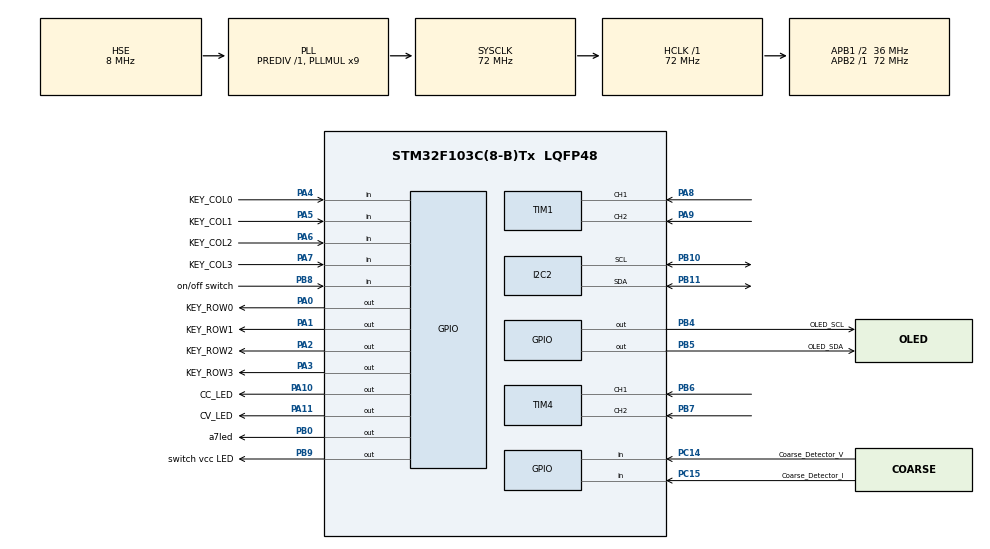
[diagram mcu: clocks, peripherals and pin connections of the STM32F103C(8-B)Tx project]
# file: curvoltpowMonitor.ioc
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I2C2.I2C_Mode=I2C_Standard
Mcu.Family=STM32F1
Mcu.Name=STM32F103C(8-B)Tx
Mcu.Package=LQFP48
NVIC.PriorityGroup=NVIC_PRIORITYGROUP_4
PA0-WKUP.GPIO_Label=KEY_ROW0
PA0-WKUP.GPIO_ModeDefaultOutputPP=GPIO_MODE_OUTPUT_PP
PA0-WKUP.GPIO_PuPd=GPIO_NOPULL
PA0-WKUP.GPIO_Speed=GPIO_SPEED_FREQ_HIGH
PA0-WKUP.PinState=GPIO_PIN_SET
PA0-WKUP.Signal=GPIO_Output
PA1.GPIO_Label=KEY_ROW1
PA1.GPIO_ModeDefaultOutputPP=GPIO_MODE_OUTPUT_PP
PA1.GPIO_PuPd=GPIO_NOPULL
PA1.GPIO_Speed=GPIO_SPEED_FREQ_HIGH
PA1.PinState=GPIO_PIN_SET
PA1.Signal=GPIO_Output
PA10.GPIO_Label=CC_LED
PA10.Signal=GPIO_Output
PA11.GPIO_Label=CV_LED
PA11.Signal=GPIO_Output
PA13.Mode=Serial_Wire
PA13.Signal=SYS_JTMS-SWDIO
PA14.Mode=Serial_Wire
PA14.Signal=SYS_JTCK-SWCLK
PA2.GPIO_Label=KEY_ROW2
PA2.GPIO_ModeDefaultOutputPP=GPIO_MODE_OUTPUT_PP
PA2.GPIO_PuPd=GPIO_NOPULL
PA2.GPIO_Speed=GPIO_SPEED_FREQ_HIGH
PA2.PinState=GPIO_PIN_SET
PA2.Signal=GPIO_Output
PA3.GPIO_Label=KEY_ROW3
PA3.GPIO_ModeDefaultOutputPP=GPIO_MODE_OUTPUT_PP
PA3.GPIO_PuPd=GPIO_NOPULL
PA3.GPIO_Speed=GPIO_SPEED_FREQ_HIGH
PA3.PinState=GPIO_PIN_SET
PA3.Signal=GPIO_Output
PA4.GPIO_Label=KEY_COL0
PA4.GPIO_Mode=GPIO_MODE_INPUT
PA4.GPIO_PuPd=GPIO_PULLUP
PA4.Signal=GPIO_Input
PA5.GPIO_Label=KEY_COL1
PA5.GPIO_Mode=GPIO_MODE_INPUT
PA5.GPIO_PuPd=GPIO_PULLUP
PA5.Signal=GPIO_Input
PA6.GPIO_Label=KEY_COL2
PA6.GPIO_Mode=GPIO_MODE_INPUT
PA6.GPIO_PuPd=GPIO_PULLUP
PA6.Signal=GPIO_Input
PA7.GPIO_Label=KEY_COL3
PA7.GPIO_Mode=GPIO_MODE_INPUT
PA7.GPIO_PuPd=GPIO_PULLUP
PA7.Signal=GPIO_Input
PA8.Signal=S_TIM1_CH1
PA9.Signal=S_TIM1_CH2
PB0.GPIO_Label=a7led
PB0.Signal=GPIO_Output
PB10.Mode=I2C
PB10.Signal=I2C2_SCL
PB11.Mode=I2C
PB11.Signal=I2C2_SDA
PB4.GPIO_Label=OLED_SCL
PB4.GPIO_ModeDefaultOutputPP=GPIO_MODE_OUTPUT_OD
PB4.GPIO_PuPd=GPIO_NOPULL
PB4.Signal=GPIO_Output
PB5.GPIO_Label=OLED_SDA
PB5.GPIO_ModeDefaultOutputPP=GPIO_MODE_OUTPUT_OD
PB5.GPIO_PuPd=GPIO_NOPULL
PB5.Signal=GPIO_Output
PB6.Signal=S_TIM4_CH1
PB7.Signal=S_TIM4_CH2
PB8.GPIO_Label=on/off switch
PB8.Signal=GPIO_Input
PB9.GPIO_Label=switch vcc LED
PB9.Signal=GPIO_Output
PC14-OSC32_IN.GPIO_Label=Coarse_Detector_V
PC14-OSC32_IN.Signal=GPIO_Input
PC15-OSC32_OUT.GPIO_Label=Coarse_Detector_I
PC15-OSC32_OUT.Signal=GPIO_Input
PD0-OSC_IN.Mode=HSE-External-Oscillator
PD0-OSC_IN.Signal=RCC_OSC_IN
PD1-OSC_OUT.Mode=HSE-External-Oscillator
PD1-OSC_OUT.Signal=RCC_OSC_OUT
ProjectManager.HeapSize=0x200
ProjectManager.StackSize=0x400
ProjectManager.TargetToolchain=CMake
RCC.AHBFreq_Value=72000000
RCC.APB1CLKDivider=RCC_HCLK_DIV2
RCC.APB1Freq_Value=36000000
RCC.APB1TimFreq_Value=72000000
RCC.APB2Freq_Value=72000000
RCC.APB2TimFreq_Value=72000000
RCC.HCLKFreq_Value=72000000
RCC.PLLMUL=RCC_PLL_MUL9
RCC.PLLSourceVirtual=RCC_PLLSOURCE_HSE
RCC.SYSCLKFreq_VALUE=72000000
RCC.SYSCLKSource=RCC_SYSCLKSOURCE_PLLCLK
RCC.USBFreq_Value=72000000
SH.S_TIM1_CH1.0=TIM1_CH1,Encoder_Interface
SH.S_TIM1_CH2.0=TIM1_CH2,Encoder_Interface
SH.S_TIM4_CH1.0=TIM4_CH1,Encoder_Interface
SH.S_TIM4_CH2.0=TIM4_CH2,Encoder_Interface
TIM1.EncoderMode=TIM_ENCODERMODE_TI12
TIM1.IC1Filter=15
TIM1.IC1Prescaler=TIM_ICPSC_DIV1
TIM1.IC2Filter=15
TIM1.IC2Prescaler=TIM_ICPSC_DIV1
TIM4.EncoderMode=TIM_ENCODERMODE_TI12
TIM4.IC1Filter=15
TIM4.IC2Filter=15
board=custom

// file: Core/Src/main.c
/* USER CODE BEGIN Header */
/**
 ******************************************************************************
 * @file           : main.c
 * @brief          : Main program body
 ******************************************************************************
 * @attention
 *
 * Copyright (c) 2025 STMicroelectronics.
 * All rights reserved.
 *
 * This software is licensed under terms that can be found in the LICENSE file
 * in the root directory of this software component.
 * If no LICENSE file comes with this software, it is provided AS-IS.
 *
 ******************************************************************************
 */
/* USER CODE END Header */
#include "main.h"
#include "gpio.h"
#include "i2c.h"
#include "tim.h"

/* USER CODE BEGIN Includes */
#include "Key4x4.h"
#include "dac60501.h"
#include "delay.h"
#include "ina260.h"
#include "oled.h"
#include "stdio.h"
#include "string.h"
#include <math.h>
#include <stdint.h>
#include <stdlib.h>

/* USER CODE END Includes */

/* USER CODE BEGIN PV */
uint32_t last_oled_update = 0;              // 上次 OLED 更新时间计数
const uint32_t OLED_UPDATE_INTERVAL = 1000; // OLED 更新间隔 1000ms = 1s
const uint32_t HEALTH_SHOWTIME = 300;       // 自检 显示间隔时间 300ms

// 输入状态机(用于处理按键输入设定电压和电流)
typedef enum {    // enum是定义枚举类型的关键字
  INPUT_IDLE = 0, // 空闲状态,从0开始
  INPUT_VOLTAGE,  // 输入电压中INPUT_VOLTAGE = 1
  INPUT_CURRENT   // 输入电流中INPUT_CURRENT = 2
} InputState_t;

InputState_t input_state = INPUT_IDLE; // 当前输入状态
char input_buffer[10] = {0};           // 输入缓冲区
uint8_t input_index = 0;               // 输入位置

float SetVoltage = 0.00f; // 设定电压 (V)
float SetCurrent = 1.00f; // 设定电流 (A)

// 旋转编码器相关变量
uint16_t V_encoder_last_cnt = 1000;        // 上次电压编码器计数值
uint16_t I_encoder_last_cnt = 1000;        // 上次电流编码器计数值
const float ENCODER_STEP_FINE = 0.01f;     // 编码器精调步进
const float ENCODER_STEP_COARSE_V = 0.50f; // 电压粗调步进
const float ENCODER_STEP_COARSE_I = 0.10f; // 电流粗调步进
uint8_t encoder_v_active = 0;              // 电压编码器激活标志
uint8_t encoder_i_active = 0;              // 电流编码器激活标志
uint32_t encoder_v_last_time = 0;          // 电压编码器上次活动时间
uint32_t encoder_i_last_time = 0;          // 电流编码器上次活动时间
const uint32_t ENCODER_TIMEOUT = 2000;     // 编码器提示超时时间(ms)

// 粗调/精调模式标志
uint8_t voltage_coarse_mode = 0; // 电压粗调模式标志
uint8_t current_coarse_mode = 0; // 电流粗调模式标志

// ON/OFF 状态标志
uint8_t output_enabled = 0; // 输出使能标志: 0=OFF, 1=ON

// DAC相关常量
// const float DAC_VREF = 2.5f;     // DAC内部参考电压 2.5V
// const float DAC_VOUT_MAX = 2.5f; // DAC最大输出电压 2.5V

/* USER CODE END PV */

void SystemClock_Config(void);
/* USER CODE BEGIN PFP */
static void Process_Key_Input(char key);
static void Clear_Input_Buffer(void);
static void Display_Input_Prompt(void);
static uint8_t Validate_And_Set_Value(void);
static void Process_Encoder(void);
static int Update_DAC_Outputs(float current_ma); // 更新DAC输出函数声明
static void Toggle_Output(void);                 // 切换输出状态函数声明
/* USER CODE END PFP */

/* USER CODE BEGIN 0 */

/**
 * @brief  清空输入缓冲区
 */
static void Clear_Input_Buffer(void) {
  // memset函数用于将一块内存空间全部设置为某个值，这里是将输入缓冲区清零
  // 函数用于将一段内存区域设置为指定的值，通常用于初始化数组或结构体。
  // 它按字节赋值，意味着*每个字节*都会被设置为指定的值。
  // 当使用 memset 对非字符类型的数组进行赋值时，需要特别注意赋值的内容。
  // 例如，对于 int 类型的数组，只有当赋值为 -1 或 0 时才能得到预期的结果。
  // 这是因为 -1 和 0 在二进制中每一位都相同，所以每个字节都会被正确地赋值。
  memset(input_buffer, 0, sizeof(input_buffer));
  input_index = 0;
}

/**
 * @brief  显示输入提示
 */
static void Display_Input_Prompt(void) {
  char prompt[32];
  uint32_t current_time = HAL_GetTick();

  // 优先显示键盘输入状态
  if (input_state == INPUT_VOLTAGE) {
    sprintf(prompt, "SetV:%s#          ", input_buffer);
    OLED_ShowString(0, 54, (uint8_t *)prompt, 8, 1);
  } else if (input_state == INPUT_CURRENT) {
    sprintf(prompt, "SetI:%s#          ", input_buffer);
    OLED_ShowString(0, 54, (uint8_t *)prompt, 8, 1);
  }
  // 显示编码器调节状态（如果有激活）
  else {
    // 检查电压编码器是否在超时时间内活动
    if (encoder_v_active &&
        (current_time - encoder_v_last_time) < ENCODER_TIMEOUT) {
      // 显示粗调/精调模式
      if (voltage_coarse_mode) {
        sprintf(prompt, "[COARSE] V:%.2fV  ", SetVoltage);
      } else {
        sprintf(prompt, "[FINE] V:%.2fV    ", SetVoltage);
      }
      OLED_ShowString(0, 54, (uint8_t *)prompt, 8, 1);
    }
    // 检查电流编码器是否在超时时间内活动
    else if (encoder_i_active &&
             (current_time - encoder_i_last_time) < ENCODER_TIMEOUT) {
      // 显示粗调/精调模式
      if (current_coarse_mode) {
        sprintf(prompt, "[COARSE] I:%.2fA  ", SetCurrent);
      } else {
        sprintf(prompt, "[FINE] I:%.2fA    ", SetCurrent);
      }
      OLED_ShowString(0, 54, (uint8_t *)prompt, 8, 1);
    }
    // 超时后清除提示
    else {
      encoder_v_active = 0;
      encoder_i_active = 0;
      // 不在输入状态时清空提示行
      if (input_state == INPUT_IDLE) {
        OLED_ShowString(0, 54, (uint8_t *)"                          ", 8, 1);
      }
    }
  }

  OLED_Refresh();
}

/**
 * @brief  处理旋转编码器输入（随时可调）
 */
static void Process_Encoder(void) {
  uint32_t current_time = HAL_GetTick();

  // ========== 检测电压编码器按钮状态（粗调/精调切换）==========
  // 低电平 = 按下 = 粗调模式
  if (HAL_GPIO_ReadPin(Coarse_Detector_V_GPIO_Port, Coarse_Detector_V_Pin) ==
      GPIO_PIN_RESET) {
    voltage_coarse_mode = 1;
  } else {
    voltage_coarse_mode = 0;
  }

  // ========== 检测电流编码器按钮状态（粗调/精调切换）==========
  // 低电平 = 按下 = 粗调模式
  if (HAL_GPIO_ReadPin(Coarse_Detector_I_GPIO_Port, Coarse_Detector_I_Pin) ==
      GPIO_PIN_RESET) {
    current_coarse_mode = 1;
  } else {
    current_coarse_mode = 0;
  }

  // ========== 处理电压编码器 (TIM1) ==========
  uint16_t V_encoder_cnt = __HAL_TIM_GET_COUNTER(&htim1);
  int16_t V_cnt_diff =
      ((int16_t)V_encoder_cnt - (int16_t)V_encoder_last_cnt) / 2;

  // 限制单次调整幅度,防止异常跳变
  if (abs(V_cnt_diff) > 0 && abs(V_cnt_diff) <= 100) {
    // 根据粗调/精调模式选择步进值
    float v_step =
        voltage_coarse_mode ? ENCODER_STEP_COARSE_V : ENCODER_STEP_FINE;

    // 计算新电压值
    float new_voltage = SetVoltage + V_cnt_diff * v_step;

    // 限制范围 0.00 - MAX_VOLTAGE
    if (new_voltage < 0.0f) {
      SetVoltage = 0.0f;
    } else if (new_voltage > MAX_VOLTAGE) {
      SetVoltage = MAX_VOLTAGE;
    } else {
      SetVoltage = new_voltage;
    }

    // 标记电压编码器活动
    encoder_v_active = 1;
    encoder_v_last_time = current_time;
    encoder_i_active = 0; // 清除电流编码器提示

    // 更新上次计数值
    V_encoder_last_cnt = V_encoder_cnt;
  }

  // ========== 处理电流编码器 (TIM4) ==========
  uint16_t I_encoder_cnt = __HAL_TIM_GET_COUNTER(&htim4);
  int16_t I_cnt_diff =
      ((int16_t)I_encoder_cnt - (int16_t)I_encoder_last_cnt) / 2;

  // 限制单次调整幅度,防止异常跳变
  if (abs(I_cnt_diff) > 0 && abs(I_cnt_diff) <= 100) {
    // 根据粗调/精调模式选择步进值
    float i_step =
        current_coarse_mode ? ENCODER_STEP_COARSE_I : ENCODER_STEP_FINE;

    // 计算新电流值
    float new_current = SetCurrent + I_cnt_diff * i_step;

    // 限制范围 0.00 - MAX_CURRENT
    if (new_current < 0.0f) {
      SetCurrent = 0.0f;
    } else if (new_current > MAX_CURRENT) {
      SetCurrent = MAX_CURRENT;
    } else {
      SetCurrent = new_current;
    }

    // 标记电流编码器活动
    encoder_i_active = 1;
    encoder_i_last_time = current_time;
    encoder_v_active = 0; // 清除电压编码器提示

    // 更新上次计数值
    I_encoder_last_cnt = I_encoder_cnt;
  }
}

/**
 * @brief  验证并设置数值 简要说明
 * @retval 1: 成功, 0: 失败 返回说明
 */
static uint8_t Validate_And_Set_Value(void) {
  // atof函数用于将字符串转换为浮点数 ascii to floating point numbers
  // 这里将输入缓冲区的字符串转换为浮点数来和范围进行比较
  float value = atof(input_buffer);
  char msg[32];

  if (input_state == INPUT_VOLTAGE) {
    // 验证范围 0.00 - 16.00 V
    if (value < 0.0f || value > MAX_VOLTAGE) {
      sprintf(msg, "  Vset ERR:0-16V     ");
      OLED_ShowString(0, 54, (uint8_t *)msg, 8, 1);
      OLED_Refresh();
      HAL_Delay(2000);
      return 0;
    }
    // 若验证通过,设置变量
    SetVoltage = value;
    sprintf(msg, "  SetV:%.2fV OK     ", SetVoltage);

  } else if (input_state == INPUT_CURRENT) {
    // 验证范围 0.00 - 5.00 A
    if (value < 0.0f || value > MAX_CURRENT) {
      sprintf(msg, "  Iset ERR:0-1A     ");
      OLED_ShowString(0, 54, (uint8_t *)msg, 8, 1);
      OLED_Refresh();
      HAL_Delay(2000);
      return 0;
    }
    // 若验证通过,设置变量
    SetCurrent = value;
    sprintf(msg, "  SetI:%.2fA OK     ", SetCurrent);
  }
  // 展示成功信息和设定值
  OLED_ShowString(0, 54, (uint8_t *)msg, 8, 1);
  OLED_Refresh();
  HAL_Delay(1500);
  // 1: 成功
  return 1;
}

/**
 * @brief  切换输出状态 (ON/OFF)
 * @note   切换 output_enabled 标志，同时控制 LED 指示灯
 */
static void Toggle_Output(void) {
  // 切换输出状态
  output_enabled = !output_enabled;
  HAL_GPIO_TogglePin(switch_vcc_LED_GPIO_Port, switch_vcc_LED_Pin);

  // OFF 状态下关闭所有指示灯
  if (!output_enabled) {
    HAL_GPIO_WritePin(GPIOA, CV_LED_Pin, GPIO_PIN_RESET);
    HAL_GPIO_WritePin(GPIOA, CC_LED_Pin, GPIO_PIN_RESET);
  }
}

/**
 * @brief  处理按键输入
 * @param  key: 按键字符
 */
static void Process_Key_Input(char key) {
  switch (input_state) {
    // 如果在空闲状态按下时候:
  case INPUT_IDLE:
    if (key == 'A') {
      // 开始输入电压
      input_state = INPUT_VOLTAGE;
      Clear_Input_Buffer();
      encoder_v_active = 0; // 清除编码器状态
      encoder_i_active = 0;
      Display_Input_Prompt();
    } else if (key == 'B') {
      // 开始输入电流
      input_state = INPUT_CURRENT;
      Clear_Input_Buffer();
      encoder_v_active = 0; // 清除编码器状态
      encoder_i_active = 0;
      Display_Input_Prompt();
    } else if (key == 'C') {
      // C键控制ON/OFF切换(之前是清空,现在交给空闲状态下的*键：长按清空)
      Toggle_Output();
    } else if (key == '*') {
      // 空闲状态下的*键：长按清空，短按无操作
      if (Key_IsLongPress()) {
        SetVoltage = 0.0f;
        SetCurrent = 0.0f;
        OLED_ShowString(0, 54, (uint8_t *)"  --- Clear OK ---       ", 8, 1);
        OLED_Refresh();
        HAL_Delay(1000);
      }
    }
    break;

    // 如果在输入电压或电流状态按下时候:
  case INPUT_VOLTAGE:
  case INPUT_CURRENT:
    if (key == 'E') {
      if (input_index > 0) {
        if (Validate_And_Set_Value()) {
          // 验证成功,返回空闲状态
          input_state = INPUT_IDLE;
          // 清空输入缓冲区
          Clear_Input_Buffer();
        } else {
          // 验证失败,重新输入
          // 清空输入缓冲区
          Clear_Input_Buffer();
          // 显示输入提示
          Display_Input_Prompt();
        }
      }
    } else if (key == '*') {
      // 输入状态下的*键
      if (Key_IsLongPress()) {
        // 长按：全清空 (类似原C键功能)
        input_state = INPUT_IDLE;
        Clear_Input_Buffer();
        SetVoltage = 0.0f;
        SetCurrent = 0.0f;
        OLED_ShowString(0, 54, (uint8_t *)"  --- Clear OK ---       ", 8, 1);
        OLED_Refresh();
        HAL_Delay(1000);
      } else {
        // 短按：退格/取消 (原有功能)
        input_state = INPUT_IDLE;
        Clear_Input_Buffer();
        OLED_ShowString(0, 54, (uint8_t *)"  --- Cancel ---       ", 8, 1);
        OLED_Refresh();
        HAL_Delay(1000);
      }

    } else if ((key >= '0' && key <= '9') || key == '.') {
      if (input_index < 8) {
        if (key == '.') {
          // 只允许一个小数点,for循环遍历当前输入缓冲区
          for (uint8_t i = 0; i < input_index; i++) {
            if (input_buffer[i] == '.') {
              return; // 已有小数点,忽略
            }
          }
        }
        // 添加到输入缓冲区
        input_buffer[input_index++] = key;
        // (回到)显示输入提示
        Display_Input_Prompt();
      }
    }
    break;
  }
}

/**
 * @brief  更新所有DAC输出(电压和电流)
 * @retval 0: 全部成功, -1: 电压DAC失败, -2: 电流DAC失败, -3: 全部失败
 */
static int Update_DAC_Outputs(float current_ma) {
  int ret_v = DAC60501_SetVoltageOutput(SetVoltage, current_ma);
  int ret_i = DAC60501_SetCurrentOutput(SetCurrent);

  // 返回错误码
  if (ret_v != 0 && ret_i != 0)
    return -3; // 全部失败
  if (ret_v != 0)
    return -1; // 电压DAC失败
  if (ret_i != 0)
    return -2; // 电流DAC失败
  return 0;    // 全部成功
}

/* USER CODE END 0 */

int main(void) {

  /* MCU Configuration--------------------------------------------------------*/

  /* Reset of all peripherals, Initializes the Flash interface and the Systick.
   */
  HAL_Init();

  /* Configure the system clock */
  SystemClock_Config();

  /* Initialize all configured peripherals */
  MX_GPIO_Init();
  MX_I2C2_Init();
  MX_TIM1_Init();
  MX_TIM4_Init();
  /* USER CODE BEGIN 2 */

  // u8 t = ' ';
  delay_init();
  HAL_Delay(30); // for OLED screen initial
  OLED_Init();
  OLED_ColorTurn(0);   // 0正常显示，1 反色显示
  OLED_DisplayTurn(1); // 0正常显示 1 屏幕翻转显示
  // OLED部分代码参考取自中景园电子ZJY096I0400WG11技术资料(SSD1315)
  KEY_4x4_Init();                                 // 初始化4x4矩阵键盘
  HAL_TIM_Encoder_Start(&htim1, TIM_CHANNEL_ALL); // 启动电压编码器
  htim1.Instance->CNT = 1000;
  V_encoder_last_cnt = 1000;

  HAL_TIM_Encoder_Start(&htim4, TIM_CHANNEL_ALL); // 启动电流编码器
  htim4.Instance->CNT = 1000;
  I_encoder_last_cnt = 1000;

  HAL_Delay(20);
  uint8_t codehyz[10] = "23211319";
  uint8_t codelyk[10] = "23211326";
  uint8_t codecyh[10] = "23211288";
  OLED_Clear();
  OLED_Refresh();
  OLED_CN(28, 6, 6, 12, 1, 1); // 主标题
  OLED_CN(0, 20, 4, 12, 1, 2);
  OLED_ShowString(50, 20, codehyz, 12, 1);
  OLED_CN(0, 36, 4, 12, 1, 3);
  OLED_ShowString(50, 36, codelyk, 12, 1);
  OLED_CN(0, 52, 4, 12, 1, 4);
  OLED_ShowString(50, 52, codecyh, 12, 1);
  OLED_Refresh();
  HAL_Delay(3000);
  OLED_Clear();

  // 初始化 INA260 引用和参考: https://github.com/xupenghu/ina260
  int ret = ina260_init_default(INA260_SLAVE_ADDRESS);

  OLED_Clear();
  OLED_CN(28, 6, 6, 12, 1, 1); // 主标题
  if (ret == INA_STATUS_OK) {
    // OLED_ShowString(0, 24, (uint8_t *)"INA260 OK", 16, 1);

    // 配置工作模式
    // operating_type: iotPower (default) - 同时测电流和电压
    // operating_mode: iomContinuous (default) - 连续测量
    // current_ctime: ictConvert1p1ms (default) - 电流转换时间 1.1ms
    // voltage_ctime: ivtConvert1p1ms (default) - 电压转换时间 1.1ms
    // sample_size: issSample512 - 512次采样取平均值
    // 总采样时间 = 采样次数 * 转换时间
    ina260_set_config(iotPower, iomContinuous, ictConvert1p1ms, ictConvert1p1ms,
                      issSample512);

  } else {
    OLED_ShowString(0, 24, (uint8_t *)"INA260 ERR", 16, 1);
  }
  OLED_Refresh();
  HAL_Delay(500);

  // ============ DAC60501 开机自检 ============
  OLED_Clear();
  OLED_CN(28, 6, 6, 12, 1, 1); // 显示标题
  OLED_ShowString(0, 20, (uint8_t *)"DAC60501 Diagnostic", 8, 1);
  OLED_Refresh();
  HAL_Delay(1000);

  // PB9 置高
  // HAL_GPIO_WritePin(GPIOB, GPIO_PIN_9, GPIO_PIN_SET);
  // HAL_GPIO_WritePin(GPIOA, CC_LED_Pin, GPIO_PIN_SET); // CC LED ON
  // HAL_GPIO_WritePin(GPIOA, CV_LED_Pin, GPIO_PIN_SET); // CV LED ON
  char dac_msg[32];
  uint8_t diag_line = 30; // 诊断信息起始行

  // ========== 步骤1: 初始化所有DAC ==========
  OLED_ShowString(0, diag_line, (uint8_t *)"1.Init DACs...       ", 8, 1);
  OLED_Refresh();
  HAL_Delay(300);

  DAC60501_Init_All(); // 初始化两个DAC
  HAL_Delay(1000);

  OLED_ShowString(0, diag_line, (uint8_t *)"1.Init DACs...OK       ", 8, 1);
  OLED_Refresh();
  HAL_Delay(500);

  // ========== 步骤2: 读取设备ID ==========
  // ========== 检查电压控制DAC (0x48) ==========
  diag_line += 10;
  OLED_ShowString(0, diag_line, (uint8_t *)"2.Voltage DAC...       ", 8, 1);
  OLED_Refresh();
  HAL_Delay(300);

  uint16_t dac_v_id = DAC60501_ReadDeviceId_Addr(DAC_VOLTAGE_ADDR);
  if (dac_v_id != 0xFFFF && dac_v_id != 0x0000) {
    sprintf(dac_msg, "2.V-DAC:0x%04X OK       ", dac_v_id);
  } else {
    sprintf(dac_msg, "2.V-DAC:0x%04X ERR       ", dac_v_id);
  }
  OLED_ShowString(0, diag_line, (uint8_t *)dac_msg, 8, 1);
  OLED_Refresh();
  HAL_Delay(500);

  // ========== 检查电流控制DAC (0x49) ==========
  diag_line += 10;
  OLED_ShowString(0, diag_line, (uint8_t *)"3.Current DAC...       ", 8, 1);
  OLED_Refresh();
  HAL_Delay(300);

  uint16_t dac_i_id = DAC60501_ReadDeviceId_Addr(DAC_CURRENT_ADDR);
  if (dac_i_id != 0xFFFF && dac_i_id != 0x0000) {
    sprintf(dac_msg, "3.I-DAC:0x%04X OK       ", dac_i_id);
  } else {
    sprintf(dac_msg, "3.I-DAC:0x%04X ERR       ", dac_i_id);
  }
  OLED_ShowString(0, diag_line, (uint8_t *)dac_msg, 8, 1);
  OLED_Refresh();
  HAL_Delay(1000);

  // ========== 下一页 ==========
  OLED_Clear();
  diag_line = 0;
  HAL_Delay(HEALTH_SHOWTIME);
  // ========== 步骤3: 读取STATUS寄存器 ==========
  diag_line += 10;
  OLED_ShowString(0, diag_line, (uint8_t *)"3.Read STATUS...       ", 8, 1);
  OLED_Refresh();
  HAL_Delay(300);

  // 修改: 读取两个DAC的STATUS
  uint16_t status_v = DAC60501_ReadStatus_Addr(DAC_VOLTAGE_ADDR);
  sprintf(dac_msg, "3.V-STA:0x%04X       ", status_v);
  OLED_ShowString(0, diag_line, (uint8_t *)dac_msg, 8, 1);
  OLED_Refresh();
  HAL_Delay(500);
  // ========== 下一页 ==========
  OLED_Clear();
  diag_line = 0;
  HAL_Delay(HEALTH_SHOWTIME);
  // ========== 步骤4: 设置GAIN寄存器 ==========
  diag_line += 10;
  OLED_ShowString(0, diag_line, (uint8_t *)"4.Set GAIN...       ", 8, 1);
  OLED_Refresh();
  HAL_Delay(300);

  // 修改: 设置两个DAC的GAIN
  int gain_ret_v = DAC60501_SetGain_Addr(DAC_VOLTAGE_ADDR, 1, 1);
  int gain_ret_i = DAC60501_SetGain_Addr(DAC_CURRENT_ADDR, 1, 1);

  if (gain_ret_v == 0 && gain_ret_i == 0) {
    OLED_ShowString(0, diag_line, (uint8_t *)"4.GAIN Set OK       ", 8, 1);
  } else {
    sprintf(dac_msg, "4.GAIN Err V:%d I:%d", gain_ret_v, gain_ret_i);
    OLED_ShowString(0, diag_line, (uint8_t *)dac_msg, 8, 1);
  }
  OLED_Refresh();
  HAL_Delay(HEALTH_SHOWTIME);

  // ========== 步骤5: 检查REF-ALARM ==========
  diag_line += 10;
  OLED_ShowString(0, diag_line, (uint8_t *)"5.Check REF...       ", 8, 1);
  OLED_Refresh();
  HAL_Delay(HEALTH_SHOWTIME);

  // 修改: 检查两个DAC的REF-ALARM
  int alarm_v = DAC60501_RefAlarm_Addr(DAC_VOLTAGE_ADDR);
  int alarm_i = DAC60501_RefAlarm_Addr(DAC_CURRENT_ADDR);

  if (alarm_v == 0 && alarm_i == 0) {
    OLED_ShowString(0, diag_line, (uint8_t *)"5.REF OK       ", 8, 1);
  } else {
    sprintf(dac_msg, "5.REF V:%d I:%d       ", alarm_v, alarm_i);
    OLED_ShowString(0, diag_line, (uint8_t *)dac_msg, 8, 1);
  }
  OLED_Refresh();
  HAL_Delay(HEALTH_SHOWTIME);
  // ========== 下一页 ==========
  OLED_Clear();
  diag_line = 0;
  HAL_Delay(HEALTH_SHOWTIME);
  // ========== 步骤6: 测试电压输出(增强版) ==========
  diag_line += 10;
  OLED_ShowString(0, diag_line, (uint8_t *)"6.Test Output...", 8, 1);
  OLED_Refresh();
  HAL_Delay(HEALTH_SHOWTIME);

  // 先读取CONFIG寄存器
  I2C_WriteByte_Addr(DAC_VOLTAGE_ADDR, CONFIG, 0x0000); // 复位V CONFIG寄存器
  I2C_WriteByte_Addr(DAC_CURRENT_ADDR, CONFIG, 0x0000); // 复位I CONFIG寄存器
  uint16_t V_config_reg = I2C_ReadByte_Addr(DAC_VOLTAGE_ADDR, CONFIG);
  uint16_t I_config_reg = I2C_ReadByte_Addr(DAC_CURRENT_ADDR, CONFIG);
  sprintf(dac_msg, "CFG:V-%04X,I-%04X", V_config_reg, I_config_reg);
  OLED_ShowString(0, diag_line + 10, (uint8_t *)dac_msg, 8, 1);
  OLED_Refresh();
  HAL_Delay(500);

  // 清屏,开始详细测试
  OLED_Clear();
  diag_line = 18;

  // // 测试序列: 0V -> 1.25V -> 2.5V
  // float test_voltages[] = {0.0f, 1.25f, 2.5f};
  // uint8_t test_passed = 1;

  // for (int i = 0; i < 3; i++) {
  //   // 显示当前测试电压
  //   sprintf(dac_msg, "Test %d: %.2fV", i + 1, test_voltages[i]);
  //   OLED_ShowString(0, diag_line, (uint8_t *)dac_msg, 8, 1);
  //   OLED_Refresh();
  //   HAL_Delay(300);

  //   // 计算DAC码值
  //   uint16_t dac_code = (uint16_t)((test_voltages[i] / DAC_VREF) * 4095.0f);
  //   uint16_t dac_data = dac_code << 4; // 左对齐到16-bit

  //   // 写入DAC_DATA寄存器
  //   I2C_WriteByte(DAC_DATA, dac_data);
  //   HAL_Delay(100); // 等待DAC稳定

  //   // 回读DAC_DATA寄存器验证
  //   uint16_t readback = I2C_ReadByte(DAC_DATA);
  //   sprintf(dac_msg, "W:0x%04X R:0x%04X", dac_data, readback);
  //   OLED_ShowString(0, diag_line + 10, (uint8_t *)dac_msg, 8, 1);
  //   OLED_Refresh();

  //   // 验证写入是否成功
  //   if (readback != dac_data) {
  //     test_passed = 0;
  //     sprintf(dac_msg, "Readback FAIL!");
  //     OLED_ShowString(0, diag_line + 20, (uint8_t *)dac_msg, 8, 1);
  //     OLED_Refresh();
  //     HAL_Delay(2000);
  //     break;
  //   }

  //   // 再次检查STATUS寄存器
  //   uint16_t status_now = DAC60501_ReadStatus();
  //   sprintf(dac_msg, "STATUS:0x%04X", status_now);
  //   OLED_ShowString(0, diag_line + 20, (uint8_t *)dac_msg, 8, 1);
  //   OLED_Refresh();

  //   // 检查REF-ALARM位
  //   if (status_now & STATUS_REF_ALARM) {
  //     test_passed = 0;
  //     OLED_ShowString(0, diag_line + 30, (uint8_t *)"REF ALARM!", 8, 1);
  //     OLED_Refresh();
  //     HAL_Delay(2000);
  //     break;
  //   }

  //   // 显示"请用万用表测量"提示
  //   OLED_ShowString(0, diag_line + 30, (uint8_t *)"Measure VOUT now!", 8, 1);
  //   OLED_Refresh();
  //   HAL_Delay(5000); // 保持5秒供测量

  //   // 清除测试信息,准备下一个
  //   if (i < 2) {
  //     OLED_Clear();
  //     diag_line = 18;
  //   }
  // }

  // 恢复0V输出 - 修改为两个DAC
  DAC60501_SetVoltageOutput(0.0f,0.00f);
  DAC60501_SetCurrentOutput(0.0f);

  // ========== 最终结果 ==========
  OLED_Clear();
  diag_line = 0;

  // ========== 额外诊断: 检查SYNC寄存器  ==========
  diag_line += 10;
  uint16_t sync_reg_v = I2C_ReadByte_Addr(DAC_VOLTAGE_ADDR, SYNC);
  uint16_t sync_reg_i = I2C_ReadByte_Addr(DAC_CURRENT_ADDR, SYNC);
  sprintf(dac_msg, "SYN-V:%04X-I:%04X", sync_reg_v, sync_reg_i);
  OLED_ShowString(0, diag_line, (uint8_t *)dac_msg, 8, 1);
  OLED_Refresh();
  HAL_Delay(500);

  // ========== 额外诊断: 检查TRIGGER寄存器  ==========
  diag_line += 10;
  uint16_t trigger_reg_v = I2C_ReadByte_Addr(DAC_VOLTAGE_ADDR, TRIGGER);
  uint16_t trigger_reg_i = I2C_ReadByte_Addr(DAC_CURRENT_ADDR, TRIGGER);
  sprintf(dac_msg, "TRIG-V:%04X-I:%04X", trigger_reg_v, trigger_reg_i);
  OLED_ShowString(0, diag_line, (uint8_t *)dac_msg, 8, 1);
  OLED_Refresh();
  HAL_Delay(500);

  // ========== 诊断总结 - 修改判断条件 ==========
  diag_line += 10;
  if (dac_v_id != 0xFFFF && dac_i_id != 0xFFFF && gain_ret_v == 0 &&
      gain_ret_i == 0 && alarm_v == 0 && alarm_i == 0) {
    OLED_ShowString(0, diag_line, (uint8_t *)"=> All Tests PASS", 8, 1);
  } else {
    OLED_ShowString(0, diag_line, (uint8_t *)"=> Tests FAILED!", 8, 1);
  }

  OLED_Refresh();
  HAL_Delay(2000); // 显示诊断结果2秒
  // ============ DAC诊断结束 ============

  // LED7显示
  HAL_GPIO_WritePin(a7led_GPIO_Port, a7led_Pin, GPIO_PIN_SET);
  // uint8_t mes[30] = "";

  SystemCoreClockUpdate(); // 确保 SystemCoreClock 正确
  DWT_Delay_Init();        // 微秒档位初始化 delay.c

  OLED_Clear();

  OLED_CN(28, 6, 6, 12, 1, 1);
  /* USER CODE END 2 */

  /* Infinite loop */
  /* USER CODE BEGIN WHILE */
  while (1) {
    // 获取当前时间戳
    uint32_t current_time = HAL_GetTick();

    // 高频率扫描键盘
    KEY_Scan();

    // ON/OFF 按键控制 (非阻塞去抖动)
    static uint32_t last_switch_time = 0;
    static uint8_t switch_state = GPIO_PIN_SET;

    uint8_t current_switch =
        HAL_GPIO_ReadPin(on_off_switch_GPIO_Port, on_off_switch_Pin);
    if (current_switch != switch_state) {
      if (current_time - last_switch_time > 20) { // 20ms debounce time 防抖
        switch_state = current_switch;
        if (switch_state == GPIO_PIN_RESET) {
          // 切换输出状态
          output_enabled = !output_enabled;
          HAL_GPIO_TogglePin(switch_vcc_LED_GPIO_Port, switch_vcc_LED_Pin);

          // OFF 状态下关闭所有指示灯
          if (!output_enabled) {
            HAL_GPIO_WritePin(GPIOA, CV_LED_Pin, GPIO_PIN_RESET);
            HAL_GPIO_WritePin(GPIOA, CC_LED_Pin, GPIO_PIN_RESET);
          }
        }
        last_switch_time = current_time;
      }
    }
    if (Key_IsPressed()) {
      uint16_t key_val = Key_Read();
      // 将按键值转换为字符
      char key = (char)key_val;
      // 处理按键输入
      Process_Key_Input(key);
      // 清除按键状态
      Key_Clear();
    }

    // ========== 随时处理旋转编码器（无论任何状态）==========
    Process_Encoder();

    // 更新编码器提示显示（每50ms更新一次）
    static uint32_t last_encoder_display = 0;
    if ((current_time - last_encoder_display) >= 50) {
      last_encoder_display = current_time;
      if (encoder_v_active || encoder_i_active) {
        Display_Input_Prompt();
      }
    }

    // 旋转编码器激活显示指示
    char voltage_coarse_mode_prompt[4] = "";
    char current_coarse_mode_prompt[4] = "";

    if (encoder_v_active) {
      if (voltage_coarse_mode == 0) {
        sprintf(voltage_coarse_mode_prompt, "*");
      } else {
        sprintf(voltage_coarse_mode_prompt, "**");
      }
    }

    if (encoder_i_active) {
      if (current_coarse_mode == 0) {
        sprintf(current_coarse_mode_prompt, "*");
      } else {
        sprintf(current_coarse_mode_prompt, "**");
      }
    }

    // 定时更新 INA260 和 OLED 显示
    // while是 20ms 循环一次，等待 1s 更新一次OLED显示
    if ((current_time - last_oled_update) >= OLED_UPDATE_INTERVAL) {
      last_oled_update = current_time;

      // 读取 INA260 数据
      float voltage_mv = 0;
      float current_ma = 0;
      float power_mw = 0;
      char buffer[32];

      // 读取并显示电压
      if (ina260_get_voltage(&voltage_mv) == INA_STATUS_OK) {
        if (voltage_mv > 1000) {
          sprintf(buffer, "%sSV:%.2fV V:%.2fV   ", voltage_coarse_mode_prompt,
                  SetVoltage, voltage_mv / 1000.0f);
        } else {
          sprintf(buffer, "%sSV:%.2fV V:%.0fmV   ", voltage_coarse_mode_prompt,
                  SetVoltage, voltage_mv);
        }
        OLED_ShowString(0, 18, (uint8_t *)buffer, 12, 1);
      }

      // 读取并显示电流
      if (ina260_get_current(&current_ma) == INA_STATUS_OK) {
        if (fabs(current_ma) > 1000) {
          sprintf(buffer, "%sSI:%.2fA I:%.2fA   ", current_coarse_mode_prompt,
                  SetCurrent, current_ma / 1000.0f);
        } else {
          sprintf(buffer, "%sSI:%.2fA I:%.0fmA   ", current_coarse_mode_prompt,
                  SetCurrent, current_ma);
        }
        OLED_ShowString(0, 18 + 10, (uint8_t *)buffer, 12, 1);
      }

      // 计算并显示功率
      power_mw = (voltage_mv * current_ma) / 1000.0f;
      if (power_mw > 1000) {
        sprintf(buffer, "P:%.3fW              ", power_mw / 1000.0f);
      } else {
        sprintf(buffer, "P:%.3fmW              ", power_mw);
      }
      OLED_ShowString(0, 18 + 10 * 2, (uint8_t *)buffer, 12, 1);

      // CV/CC 指示灯控制 - 只在 ON 状态下工作
      if (output_enabled) {
        // 计算设定值与实际值的比例
        // 避免除以零错误
        float voltage_ratio =
            (SetVoltage > 0.01f) ? (voltage_mv / 1000.0f) / SetVoltage : 0.0f;
        float current_ratio =
            (SetCurrent > 0.01f) ? (current_ma / 1000.0f) / SetCurrent : 0.0f;

        // 判断工作模式:
        // CC模式: 实际电流接近设定电流（电流限制生效）
        // CV模式: 实际电压接近设定电压（电压限制生效）
        // 使用 95% 阈值判断是否达到限制
        uint8_t is_cc_mode =
            (current_ratio >= 0.95f) && (current_ma > 10.0f); // 电流达到设定值
        uint8_t is_cv_mode =
            (voltage_ratio >= 0.95f) && (voltage_mv > 100.0f); // 电压达到设定值

        if (is_cc_mode && !is_cv_mode) {
          // 恒流模式: CC亮, CV灭
          HAL_GPIO_WritePin(GPIOA, CC_LED_Pin, GPIO_PIN_SET);
          HAL_GPIO_WritePin(GPIOA, CV_LED_Pin, GPIO_PIN_RESET);
        } else if (is_cv_mode && !is_cc_mode) {
          // 恒压模式: CV亮, CC灭
          HAL_GPIO_WritePin(GPIOA, CV_LED_Pin, GPIO_PIN_SET);
          HAL_GPIO_WritePin(GPIOA, CC_LED_Pin, GPIO_PIN_RESET);
        } else if (is_cv_mode && is_cc_mode) {
          // 同时达到限制: 还是只CC
          HAL_GPIO_WritePin(GPIOA, CV_LED_Pin, GPIO_PIN_RESET);
          HAL_GPIO_WritePin(GPIOA, CC_LED_Pin, GPIO_PIN_SET);
        } else {
          // 都未达到限制（轻载或无负载）: 只亮CV
          HAL_GPIO_WritePin(GPIOA, CV_LED_Pin, GPIO_PIN_SET);
          HAL_GPIO_WritePin(GPIOA, CC_LED_Pin, GPIO_PIN_RESET);
        }
      } else {
        // OFF 状态: 两个指示灯都关闭
        HAL_GPIO_WritePin(GPIOA, CV_LED_Pin, GPIO_PIN_RESET);
        HAL_GPIO_WritePin(GPIOA, CC_LED_Pin, GPIO_PIN_RESET);
      }

      // 只在非输入状态且编码器未激活时清除提示行
      // 同时显示ON/OFF状态
      if (input_state == INPUT_IDLE && !encoder_v_active && !encoder_i_active) {
        if (output_enabled) {
          OLED_ShowString(0, 54, (uint8_t *)"    ON                    ", 8, 1);
        } else {
          OLED_ShowString(0, 54, (uint8_t *)"    OFF                   ", 8, 1);
        }
      }

      // 更新DAC输出 - 只在 ON 状态下输出设定值
      int dac_ret;
      if (output_enabled) {
        // dac_ret用于错误检测
        dac_ret = Update_DAC_Outputs(current_ma);
      } else {
        // OFF 状态下输出 0V/0A
        int ret_v = DAC60501_SetVoltageOutput(0.0f, 0.00f);
        int ret_i = DAC60501_SetCurrentOutput(0.0f);
        dac_ret = (ret_v != 0 || ret_i != 0) ? -3 : 0;
      }

      if (dac_ret == -1) {
        OLED_ShowString(0, 54, (uint8_t *)"V-DAC ERR!       ", 8, 1);
      } else if (dac_ret == -2) {
        OLED_ShowString(0, 54, (uint8_t *)"I-DAC ERR!       ", 8, 1);
      } else if (dac_ret == -3) {
        OLED_ShowString(0, 54, (uint8_t *)"DACs ERR!       ", 8, 1);
      }
      // ======================================

      // ======================================

      OLED_Refresh();
      HAL_GPIO_TogglePin(a7led_GPIO_Port, a7led_Pin);
    }

    HAL_Delay(20);
  }
  /* USER CODE END WHILE */

}

void SystemClock_Config(void) {
  RCC_OscInitTypeDef RCC_OscInitStruct = {0};
  RCC_ClkInitTypeDef RCC_ClkInitStruct = {0};

  /** Initializes the RCC Oscillators according to the specified parameters
   * in the RCC_OscInitTypeDef structure.
   */
  RCC_OscInitStruct.OscillatorType = RCC_OSCILLATORTYPE_HSE;
  RCC_OscInitStruct.HSEState = RCC_HSE_ON;
  RCC_OscInitStruct.HSEPredivValue = RCC_HSE_PREDIV_DIV1;
  RCC_OscInitStruct.HSIState = RCC_HSI_ON;
  RCC_OscInitStruct.PLL.PLLState = RCC_PLL_ON;
  RCC_OscInitStruct.PLL.PLLSource = RCC_PLLSOURCE_HSE;
  RCC_OscInitStruct.PLL.PLLMUL = RCC_PLL_MUL9;
  if (HAL_RCC_OscConfig(&RCC_OscInitStruct) != HAL_OK) {
    Error_Handler();
  }

  /** Initializes the CPU, AHB and APB buses clocks
   */
  RCC_ClkInitStruct.ClockType = RCC_CLOCKTYPE_HCLK | RCC_CLOCKTYPE_SYSCLK |
                                RCC_CLOCKTYPE_PCLK1 | RCC_CLOCKTYPE_PCLK2;
  RCC_ClkInitStruct.SYSCLKSource = RCC_SYSCLKSOURCE_PLLCLK;
  RCC_ClkInitStruct.AHBCLKDivider = RCC_SYSCLK_DIV1;
  RCC_ClkInitStruct.APB1CLKDivider = RCC_HCLK_DIV2;
  RCC_ClkInitStruct.APB2CLKDivider = RCC_HCLK_DIV1;

  if (HAL_RCC_ClockConfig(&RCC_ClkInitStruct, FLASH_LATENCY_2) != HAL_OK) {
    Error_Handler();
  }
}

void Error_Handler(void) {
  __disable_irq();
  while (1) {
  }
}
#ifdef USE_FULL_ASSERT
/**
 * @brief  Reports the name of the source file and the source line number
 *         where the assert_param error has occurred.
 * @param  file: pointer to the source file name
 * @param  line: assert_param error line source number
 * @retval None
 */
void assert_failed(uint8_t *file, uint32_t line) {
  /* USER CODE BEGIN 6 */
  /* User can add his own implementation to report the file name and line
     number, ex: printf("Wrong parameters value: file %s on line %d\r\n", file,
     line) */
  /* USER CODE END 6 */
}
#endif /* USE_FULL_ASSERT */
